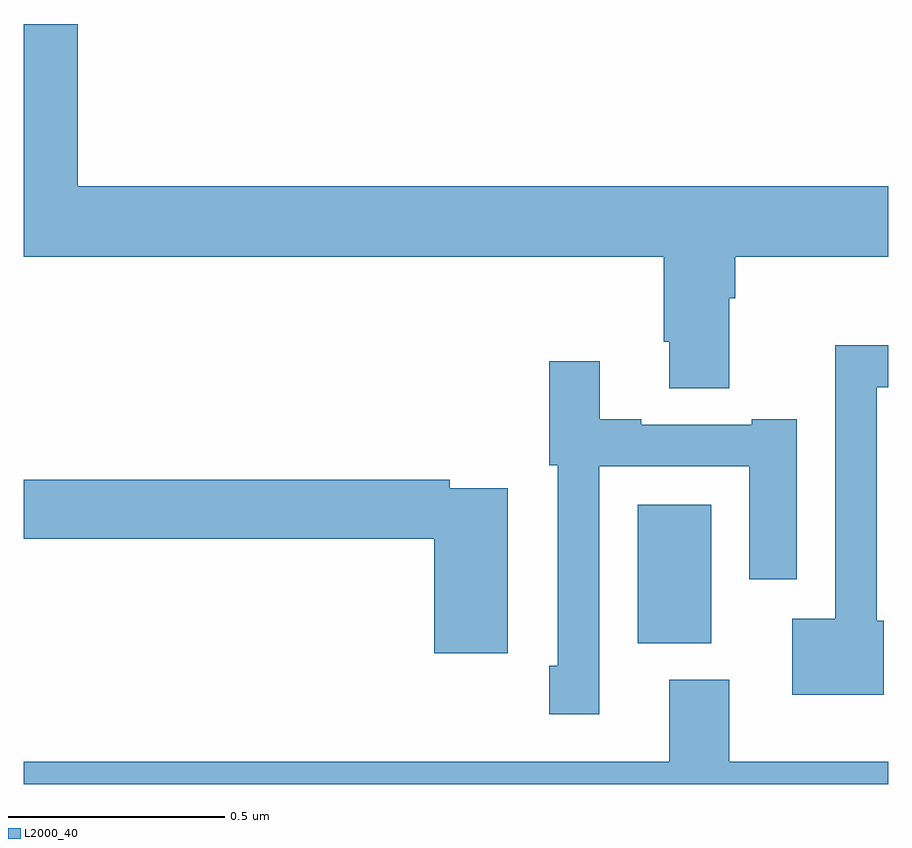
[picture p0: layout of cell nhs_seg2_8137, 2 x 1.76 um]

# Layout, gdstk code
import gdstk
lib = gdstk.Library(unit=1e-6, precision=1e-09)
def R(c, l, rs):  # rectangles x0, y0, x1, y1
    for r in rs: c.add(gdstk.rectangle(r[:2], r[2:], *l))
def P(c, l, *ps):  # polygons
    for p in ps: c.add(gdstk.Polygon(p, *l))
L2000_40 = (2000, 40)

nhs_seg2_8137 = lib.new_cell('nhs_seg2_8137')
R(nhs_seg2_8137, L2000_40, [(214.421,596.126,214.591,596.446)])
P(nhs_seg2_8137, L2000_40, [(214.633,596.924),(214.646,596.924),(214.646,597.02),(215,597.02),(215,597.184),(213.124,597.184),(213.124,597.559),(213,597.559),(213,597.02),(214.481,597.02),(214.481,596.824),(214.493,596.824),(214.493,596.716),(214.633,596.716)],
  [(214.99,596.178),(214.974,596.178),(214.974,596.718),(215,596.718),(215,596.816),(214.878,596.816),(214.878,596.182),(214.778,596.182),(214.778,596.006),(214.99,596.006)],
  [(214.332,596.535),(214.679,596.535),(214.679,596.274),(214.789,596.274),(214.789,596.644),(214.685,596.644),(214.685,596.631),(214.429,596.631),(214.429,596.644),(214.333,596.644),(214.333,596.779),(214.216,596.779),(214.216,596.538),(214.236,596.538),(214.236,596.074),(214.216,596.074),(214.216,595.962),(214.332,595.962)],
  [(214.12,596.484),(213.986,596.484),(213.986,596.504),(213,596.504),(213,596.368),(213.95,596.368),(213.95,596.103),(214.12,596.103)],
  [(215,595.852),(214.633,595.852),(214.633,596.041),(214.493,596.041),(214.493,595.852),(213,595.852),(213,595.8),(215,595.8)])

lib.write_gds('nhs_seg2_8137.gds')
